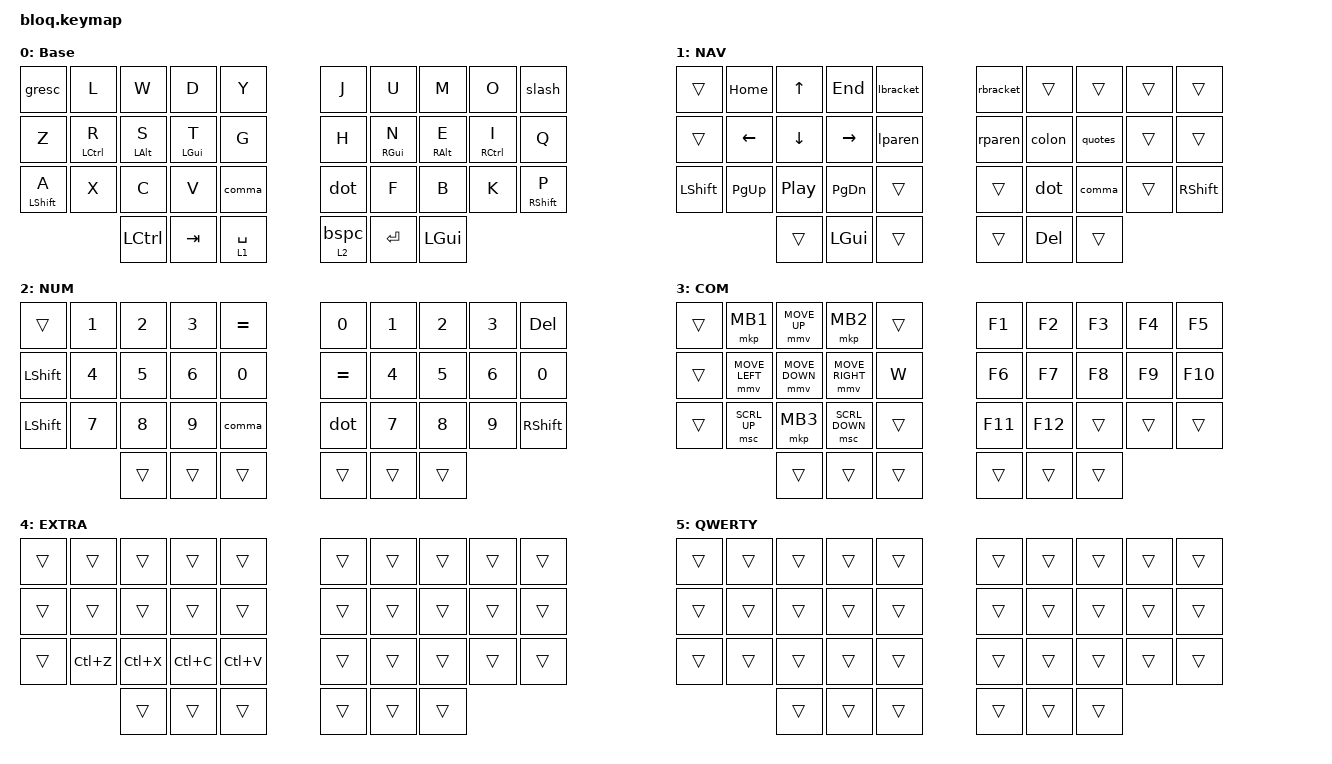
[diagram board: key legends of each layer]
#define ZMK_POINTING_DEFAULT_MOVE_VAL 2500  // default: 600
#define ZMK_POINTING_DEFAULT_SCRL_VAL 20    // default: 10

#include <behaviors/mouse_keys.dtsi>
#include <dt-bindings/zmk/mouse.h>
#include <behaviors.dtsi>
#include <dt-bindings/zmk/bt.h>
#include <dt-bindings/zmk/keys.h>
#include <dt-bindings/zmk/pointing.h>

#define TAPPING_TERM 300
#define U_MOUSE_MOVE_EXPONENT 1
#define U_MOUSE_MOVE_TIME 1500
#define U_MOUSE_MOVE_DELAY 0
#define U_MOUSE_SCROLL_EXPONENT 1
#define U_MOUSE_SCROLL_TIME 5000
#define U_MOUSE_SCROLL_DELAY 0

// Layer definitions

#define L0 0
#define L1 1
#define L2 2
#define L3 3
#define L4 4
#define L5 5
#define L6 6
#define L7 7
#define L8 8
#define L9 9

// Mouse movement configuration

&mmv {
    acceleration-exponent = <U_MOUSE_MOVE_EXPONENT>;
    time-to-max-speed-ms = <U_MOUSE_MOVE_TIME>;
    delay-ms = <U_MOUSE_MOVE_DELAY>;
};

&msc {
    acceleration-exponent = <U_MOUSE_SCROLL_EXPONENT>;
    time-to-max-speed-ms = <U_MOUSE_SCROLL_TIME>;
    delay-ms = <U_MOUSE_SCROLL_DELAY>;
};

/ {
    macros {
        // Bluetooth select with clear on shift

        ubt1: ubt1 {
            compatible = "zmk,behavior-macro";
            #binding-cells = <0>;
            wait-ms = <0>;
            tap-ms = <0>;
            bindings = <&bt BT_SEL 0 &bt BT_CLR>;
        };

        ubt2: ubt2 {
            compatible = "zmk,behavior-macro";
            #binding-cells = <0>;
            wait-ms = <0>;
            tap-ms = <0>;
            bindings = <&bt BT_SEL 1 &bt BT_CLR>;
        };

        ubt3: ubt3 {
            compatible = "zmk,behavior-macro";
            #binding-cells = <0>;
            wait-ms = <0>;
            tap-ms = <0>;
            bindings = <&bt BT_SEL 2 &bt BT_CLR>;
        };

        ubt4: ubt4 {
            compatible = "zmk,behavior-macro";
            #binding-cells = <0>;
            wait-ms = <0>;
            tap-ms = <0>;
            bindings = <&bt BT_SEL 3 &bt BT_CLR>;
        };
    };

    behaviors {
        mtc: mod_tap_custom {
            compatible = "zmk,behavior-hold-tap";
            #binding-cells = <2>;
            tapping-term-ms = <TAPPING_TERM>;
            flavor = "tap-unless-interrupted";
            bindings = <&kp &kp>;
        };

        hml: hml {
            compatible = "zmk,behavior-hold-tap";
            #binding-cells = <2>;
            flavor = "balanced";
            tapping-term-ms = <280>;
            quick-tap-ms = <175>;
            require-prior-idle-ms = <150>;
            bindings = <&kp &kp>;
            hold-trigger-key-positions = <5 6 7 8 9 15 16 17 18 19 25 26 27 28 29 30 31 32 33 34 35>;
            hold-trigger-on-release;
        };

        hmr: hmr {
            compatible = "zmk,behavior-hold-tap";
            #binding-cells = <2>;
            flavor = "balanced";
            tapping-term-ms = <280>;
            quick-tap-ms = <175>;
            require-prior-idle-ms = <150>;
            bindings = <&kp &kp>;
            hold-trigger-key-positions = <0 1 2 3 4 10 11 12 13 14 20 21 22 23 24 30 31 32 33 34 35>;
            hold-trigger-on-release;
        };

        ltc: layer_tap_custom {
            compatible = "zmk,behavior-hold-tap";
            #binding-cells = <2>;
            tapping-term-ms = <TAPPING_TERM>;
            quick-tap-ms = <TAPPING_TERM>;
            flavor = "tap-preferred";
            bindings = <&mo &kp>;
        };

        l1_comma: l1_comma {
            compatible = "zmk,behavior-hold-tap";
            #binding-cells = <2>;
            tapping-term-ms = <TAPPING_TERM>;
            quick-tap-ms = <TAPPING_TERM>;
            flavor = "tap-preferred";
            bindings = <&mo &comma>;
        };

        l2_dot: l2_dot {
            compatible = "zmk,behavior-hold-tap";
            #binding-cells = <2>;
            tapping-term-ms = <TAPPING_TERM>;
            quick-tap-ms = <TAPPING_TERM>;
            flavor = "tap-preferred";
            bindings = <&mo &dot>;
        };

        ml_bspc: l2_bspc {
            compatible = "zmk,behavior-hold-tap";
            #binding-cells = <2>;
            tapping-term-ms = <TAPPING_TERM>;
            quick-tap-ms = <TAPPING_TERM>;
            flavor = "tap-preferred";
            bindings = <&mo &bspc>;
        };

        bspc: bspc {
            compatible = "zmk,behavior-mod-morph";
            label = "BSPC";
            bindings = <&kp BACKSPACE &kp DELETE>;
            #binding-cells = <0>;
            mods = <(MOD_LSFT|MOD_RSFT)>;
        };

        slash: slash {
            compatible = "zmk,behavior-mod-morph";
            label = "SLASH";
            bindings = <&kp SLASH &kp BACKSLASH>;
            #binding-cells = <0>;
            mods = <(MOD_LSFT|MOD_RSFT)>;
        };

        dot: dot {
            compatible = "zmk,behavior-mod-morph";
            label = "DOT";
            bindings = <&kp DOT &kp COLON>;
            #binding-cells = <0>;
            mods = <(MOD_LSFT|MOD_RSFT)>;
        };

        comma: comma {
            compatible = "zmk,behavior-mod-morph";
            label = "COMMA";
            bindings = <&kp COMMA &kp SEMI>;
            #binding-cells = <0>;
            mods = <(MOD_LSFT|MOD_RSFT)>;
        };

        lparen: lparen {
            compatible = "zmk,behavior-mod-morph";
            label = "LPAREN";
            bindings = <&kp LEFT_PARENTHESIS &kp LEFT_BRACE>;
            #binding-cells = <0>;
            mods = <(MOD_LSFT|MOD_RSFT)>;
        };

        rparen: rparen {
            compatible = "zmk,behavior-mod-morph";
            label = "RPAREN";
            bindings = <&kp RIGHT_PARENTHESIS &kp RIGHT_BRACE>;
            #binding-cells = <0>;
            mods = <(MOD_LSFT|MOD_RSFT)>;
        };

        lbracket: lbracket {
            compatible = "zmk,behavior-mod-morph";
            label = "LBRACKET";
            bindings = <&kp LEFT_BRACKET &kp LESS_THAN>;
            #binding-cells = <0>;
            mods = <(MOD_LSFT|MOD_RSFT)>;
        };

        rbracket: rbracket {
            compatible = "zmk,behavior-mod-morph";
            label = "RBRACKET";
            bindings = <&kp RIGHT_BRACKET &kp GREATER_THAN>;
            #binding-cells = <0>;
            mods = <(MOD_LSFT|MOD_RSFT)>;
        };

        colon: colon {
            compatible = "zmk,behavior-mod-morph";
            label = "COLON";
            bindings = <&kp COLON &kp SEMI>;
            #binding-cells = <0>;
            mods = <(MOD_LSFT|MOD_RSFT)>;
        };

        quotes: quotes {
            compatible = "zmk,behavior-mod-morph";
            label = "QUOTES";
            bindings = <&kp SINGLE_QUOTE &kp DOUBLE_QUOTES>;
            #binding-cells = <0>;
            mods = <(MOD_LSFT|MOD_RSFT)>;
        };

    };

    keymap {
        compatible = "zmk,keymap";

        NOR {
            display-name = "Base";
            bindings = <
&gresc             &kp L         &kp W            &kp D            &kp Y            &kp J  &kp U             &kp M             &kp O                 &slash
&kp Z              &hml LCTRL R  &hml LEFT_ALT S  &hml LEFT_GUI T  &kp G            &kp H  &hmr RIGHT_GUI N  &hmr RIGHT_ALT E  &hmr RIGHT_CONTROL I  &kp Q
&mtc LEFT_SHIFT A  &kp X         &kp C            &kp V            &comma           &dot   &kp F             &kp B             &kp K                 &mtc RIGHT_SHIFT P
                                 &kp LCTRL        &kp TAB          &ltc L1 SPACE    &ml_bspc L2 0  &kp ENTER     &kp LGUI
            >;
        };

        NAV {
            bindings = <
&trans          &kp HOME        &kp UP_ARROW  &kp END        &lbracket    &rbracket  &trans   &trans   &trans  &trans
&trans          &kp LEFT_ARROW  &kp DOWN      &kp RIGHT      &lparen      &rparen    &colon   &quotes  &trans  &trans
&kp LEFT_SHIFT  &kp PAGE_UP     &kp C_PP      &kp PAGE_DOWN  &trans       &trans     &dot     &comma   &trans  &kp RIGHT_SHIFT
                                &trans        &kp LEFT_GUI   &trans       &trans     &kp DEL  &trans
            >;
        };

        NUM {
            bindings = <
&trans          &kp N1  &kp N2  &kp N3  &kp EQUAL    &kp N0     &kp N1  &kp N2  &kp N3  &kp DEL
&kp LEFT_SHIFT  &kp N4  &kp N5  &kp N6  &kp N0       &kp EQUAL  &kp N4  &kp N5  &kp N6  &kp N0
&kp LSHFT       &kp N7  &kp N8  &kp N9  &comma       &dot       &kp N7  &kp N8  &kp N9  &kp RSHFT
                        &trans  &trans  &trans       &trans     &trans  &trans
            >;
        };

        COM {
            bindings = <
&trans  &mkp MB1        &mmv MOVE_UP    &mkp MB2         &trans    &kp F1   &kp F2   &kp F3  &kp F4  &kp F5
&trans  &mmv MOVE_LEFT  &mmv MOVE_DOWN  &mmv MOVE_RIGHT  &kp W     &kp F6   &kp F7   &kp F8  &kp F9  &kp F10
&trans  &msc SCRL_UP    &mkp MB3        &msc SCRL_DOWN   &trans    &kp F11  &kp F12  &trans  &trans  &trans
                        &trans          &trans           &trans    &trans   &trans   &trans
            >;
        };

        EXTRA {
            bindings = <
&trans  &trans     &trans     &trans     &trans       &trans  &trans  &trans  &trans  &trans
&trans  &trans     &trans     &trans     &trans       &trans  &trans  &trans  &trans  &trans
&trans  &kp LC(Z)  &kp LC(X)  &kp LC(C)  &kp LC(V)    &trans  &trans  &trans  &trans  &trans
                   &trans     &trans     &trans       &trans  &trans  &trans
            >;
        };

        QWERTY {
            bindings = <
&trans  &trans  &trans  &trans  &trans    &trans  &trans  &trans  &trans  &trans
&trans  &trans  &trans  &trans  &trans    &trans  &trans  &trans  &trans  &trans
&trans  &trans  &trans  &trans  &trans    &trans  &trans  &trans  &trans  &trans
                &trans  &trans  &trans    &trans  &trans  &trans
            >;
        };
    };
};
